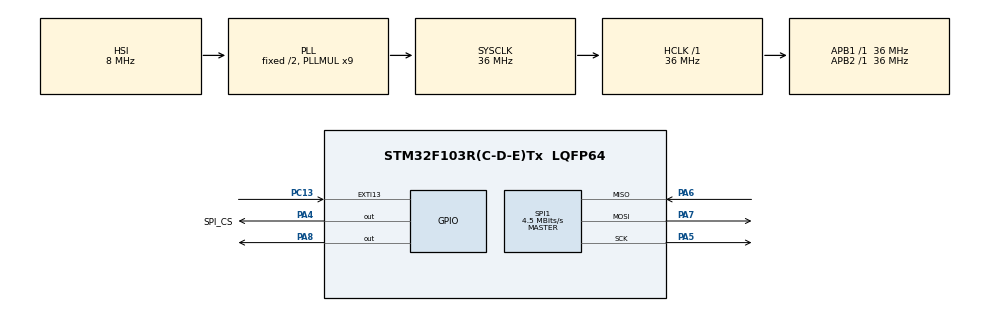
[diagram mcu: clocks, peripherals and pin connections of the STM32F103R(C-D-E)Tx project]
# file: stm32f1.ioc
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Mcu.Family=STM32F1
Mcu.Name=STM32F103R(C-D-E)Tx
Mcu.Package=LQFP64
NVIC.PriorityGroup=NVIC_PRIORITYGROUP_4
NVIC.RCC_IRQn=true\:0\:0\:false\:false\:true\:true\:false\:true
NVIC.SPI1_IRQn=true\:0\:0\:false\:false\:true\:true\:true\:true
PA0-WKUP.Mode=SYS_WakeUp0
PA0-WKUP.Signal=SYS_WKUP
PA13.Mode=Serial_Wire
PA13.Signal=SYS_JTMS-SWDIO
PA14.Mode=Serial_Wire
PA14.Signal=SYS_JTCK-SWCLK
PA4.GPIO_Label=SPI_CS
PA4.Signal=GPIO_Output
PA5.Mode=Full_Duplex_Master
PA5.Signal=SPI1_SCK
PA6.Mode=Full_Duplex_Master
PA6.Signal=SPI1_MISO
PA7.Mode=Full_Duplex_Master
PA7.Signal=SPI1_MOSI
PA8.Signal=GPIO_Output
PC13-TAMPER-RTC.GPIO_ModeDefaultEXTI=GPIO_MODE_IT_FALLING
PC13-TAMPER-RTC.GPIO_PuPd=GPIO_PULLUP
PC13-TAMPER-RTC.Signal=GPXTI13
PD0-OSC_IN.Mode=HSE-External-Oscillator
PD0-OSC_IN.Signal=RCC_OSC_IN
PD1-OSC_OUT.Mode=HSE-External-Oscillator
PD1-OSC_OUT.Signal=RCC_OSC_OUT
ProjectManager.HeapSize=0x200
ProjectManager.StackSize=0x400
ProjectManager.TargetToolchain=STM32CubeIDE
RCC.AHBFreq_Value=36000000
RCC.APB1Freq_Value=36000000
RCC.APB1TimFreq_Value=36000000
RCC.APB2Freq_Value=36000000
RCC.APB2TimFreq_Value=36000000
RCC.HCLKFreq_Value=36000000
RCC.PLLMUL=RCC_PLL_MUL9
RCC.SYSCLKFreq_VALUE=36000000
RCC.SYSCLKSource=RCC_SYSCLKSOURCE_PLLCLK
RCC.USBFreq_Value=36000000
SPI1.BaudRatePrescaler=SPI_BAUDRATEPRESCALER_8
SPI1.CLKPhase=SPI_PHASE_2EDGE
SPI1.CalculateBaudRate=4.5 MBits/s
SPI1.DataSize=SPI_DATASIZE_8BIT
SPI1.Direction=SPI_DIRECTION_2LINES
SPI1.Mode=SPI_MODE_MASTER
SPI1.VirtualType=VM_MASTER
board=custom

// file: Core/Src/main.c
/* USER CODE BEGIN Header */
/**
  ******************************************************************************
  * @file           : main.c
  * @brief          : Main program body
  ******************************************************************************
  * @attention
  *
  * Copyright (c) 2025 STMicroelectronics.
  * All rights reserved.
  *
  * This software is licensed under terms that can be found in the LICENSE file
  * in the root directory of this software component.
  * If no LICENSE file comes with this software, it is provided AS-IS.
  *
  ******************************************************************************
  */
/* USER CODE END Header */
#include "main.h"
#include "ADS1247.h"
#include <math.h>

/* USER CODE BEGIN Includes */

uint8_t status;
int32_t adc_raw_code;
double voltage;
double input_supply=0;
double adc_volt=0;
double result_volt=0;
/* USER CODE END Includes */

SPI_HandleTypeDef hspi1;

void SystemClock_Config(void);
static void MX_GPIO_Init(void);
static void MX_SPI1_Init(void);

/* USER CODE BEGIN 0 */
void thermo_init(){
		adc124xx_t ads={
				.sel_channel_P=P_AIN0,
				.sel_channel_N=N_AIN1,
				.sel_bias=DIS_BIAS_AINx,
				.sel_dr=DOR3_20,
				.sel_exc_mag=IMAG2_OFF,
				.sel_exc_out=I1DIR_OFF|I2DIR_OFF,
				.sel_internal_ref=VREFCON1_ON,
				.sel_ref=REFSELT1_ON,
				.sel_pga=PGA2_32,
				.sel_sys_moniter=MUXCAL2_NORMAL
		};
		ads1247_init(&ads);
}

double calculate_RTD(int32_t adc_code, double Rref, int gain)
{
	const int32_t ADC_FULLSCALE =8388608;  // 2^23
    return (Rref * adc_code) / (ADC_FULLSCALE * gain);
}

void test_RTD(){

	adc124xx_t ads={
			.sel_channel_P=P_AIN1,
			.sel_channel_N=N_AIN2,
			.sel_bias=DIS_BIAS_AINx,
			.sel_dr=DOR3_20,
			.sel_exc_mag=IMAG2_1000,
			.sel_exc_out=I1DIR_AIN0|I2DIR_AIN3,
			.sel_internal_ref=VREFCON1_ON,
			.sel_ref=REFSELT1_REF0,
			.sel_pga=PGA2_0,
			.sel_sys_moniter=MUXCAL2_NORMAL
	};
	ads1247_init(&ads);

	//Define PT100 Coeffients

}

/* USER CODE END 0 */

int main(void)
{

  /* USER CODE BEGIN 1 */
	static double R0 =  100;//0 degree for 100 ohm
	static double A =  0.00390802;//by IEC-60751
	static double B = -0.0000005802;
  /* USER CODE END 1 */

  /* MCU Configuration--------------------------------------------------------*/

  /* Reset of all peripherals, Initializes the Flash interface and the Systick. */

	HAL_Init();

  /* Configure the system clock */
  SystemClock_Config();

  /* Initialize all configured peripherals */
  MX_GPIO_Init();
  MX_SPI1_Init();
  /* USER CODE BEGIN 2 */

  ADS1247_begin();

  //analog_supplie_init();
//  thermo_init();
//	test_RTD();

  while (1)
  {
	 status=HAL_GPIO_ReadPin(DRDY_PORT, DRDY_PIN);
    if (HAL_GPIO_ReadPin(DRDY_PORT, DRDY_PIN) == GPIO_PIN_RESET)
    {

    	adc_raw_code =  ADS1247_ReadData(P_AIN0);
    	adc_volt =ads1247_raw_to_voltage(adc_raw_code, 2.048,1);
        input_supply=get_supply(adc_volt, MV0_100);

//       result_volt = (1.6408/8388608)*(raw/2.0);
////    	result_volt=ads1247_raw_to_voltage(raw, 2.048, 1);
//    	result_resistance = result_volt/0.001; //
////    	result_resistance=calculate_RTD(raw,20,1);
//    	result_temp = (-R0*A+sqrt(pow(R0*A,2)-4*R0*B*(R0-result_resistance)))/(2*R0*B);
//      raw = ADS1247_ReadData();
//     // result_temp =ads1247_raw_to_voltage(raw, 2.048,1);
//      result_temp =ads1247_raw_to_voltage(raw, 2.0,1);

//      HAL_Delay(1000);

    }
  }
  /* USER CODE END 3 */
}

void SystemClock_Config(void)
{
  RCC_OscInitTypeDef RCC_OscInitStruct = {0};
  RCC_ClkInitTypeDef RCC_ClkInitStruct = {0};

  /** Initializes the RCC Oscillators according to the specified parameters
  * in the RCC_OscInitTypeDef structure.
  */
  RCC_OscInitStruct.OscillatorType = RCC_OSCILLATORTYPE_HSI;
  RCC_OscInitStruct.HSIState = RCC_HSI_ON;
  RCC_OscInitStruct.HSICalibrationValue = RCC_HSICALIBRATION_DEFAULT;
  RCC_OscInitStruct.PLL.PLLState = RCC_PLL_ON;
  RCC_OscInitStruct.PLL.PLLSource = RCC_PLLSOURCE_HSI_DIV2;
  RCC_OscInitStruct.PLL.PLLMUL = RCC_PLL_MUL9;
  if (HAL_RCC_OscConfig(&RCC_OscInitStruct) != HAL_OK)
  {
    Error_Handler();
  }

  /** Initializes the CPU, AHB and APB buses clocks
  */
  RCC_ClkInitStruct.ClockType = RCC_CLOCKTYPE_HCLK|RCC_CLOCKTYPE_SYSCLK
                              |RCC_CLOCKTYPE_PCLK1|RCC_CLOCKTYPE_PCLK2;
  RCC_ClkInitStruct.SYSCLKSource = RCC_SYSCLKSOURCE_PLLCLK;
  RCC_ClkInitStruct.AHBCLKDivider = RCC_SYSCLK_DIV1;
  RCC_ClkInitStruct.APB1CLKDivider = RCC_HCLK_DIV1;
  RCC_ClkInitStruct.APB2CLKDivider = RCC_HCLK_DIV1;

  if (HAL_RCC_ClockConfig(&RCC_ClkInitStruct, FLASH_LATENCY_1) != HAL_OK)
  {
    Error_Handler();
  }
}

static void MX_SPI1_Init(void)
{

  /* SPI1 parameter configuration*/
  hspi1.Instance = SPI1;
  hspi1.Init.Mode = SPI_MODE_MASTER;
  hspi1.Init.Direction = SPI_DIRECTION_2LINES;
  hspi1.Init.DataSize = SPI_DATASIZE_8BIT;
  hspi1.Init.CLKPolarity = SPI_POLARITY_LOW;
  hspi1.Init.CLKPhase = SPI_PHASE_2EDGE;
  hspi1.Init.NSS = SPI_NSS_SOFT;
  hspi1.Init.BaudRatePrescaler = SPI_BAUDRATEPRESCALER_8;
  hspi1.Init.FirstBit = SPI_FIRSTBIT_MSB;
  hspi1.Init.TIMode = SPI_TIMODE_DISABLE;
  hspi1.Init.CRCCalculation = SPI_CRCCALCULATION_DISABLE;
  hspi1.Init.CRCPolynomial = 10;
  if (HAL_SPI_Init(&hspi1) != HAL_OK)
  {
    Error_Handler();
  }

}

static void MX_GPIO_Init(void)
{
  GPIO_InitTypeDef GPIO_InitStruct = {0};

  /* GPIO Ports Clock Enable */
  __HAL_RCC_GPIOC_CLK_ENABLE();
  __HAL_RCC_GPIOD_CLK_ENABLE();
  __HAL_RCC_GPIOA_CLK_ENABLE();

  /*Configure GPIO pin Output Level */
  HAL_GPIO_WritePin(GPIOA, SPI_CS_Pin|GPIO_PIN_8, GPIO_PIN_RESET);

  /*Configure GPIO pin : PC13 */
  GPIO_InitStruct.Pin = GPIO_PIN_13;
  GPIO_InitStruct.Mode = GPIO_MODE_IT_FALLING;
  GPIO_InitStruct.Pull = GPIO_PULLUP;
  HAL_GPIO_Init(GPIOC, &GPIO_InitStruct);

  /*Configure GPIO pins : SPI_CS_Pin PA8 */
  GPIO_InitStruct.Pin = SPI_CS_Pin|GPIO_PIN_8;
  GPIO_InitStruct.Mode = GPIO_MODE_OUTPUT_PP;

  GPIO_InitStruct.Pull = GPIO_NOPULL;
  GPIO_InitStruct.Speed = GPIO_SPEED_FREQ_LOW;
  HAL_GPIO_Init(GPIOA, &GPIO_InitStruct);

}

void Error_Handler(void)
{
  __disable_irq();
  while (1)
  {
  }
}
